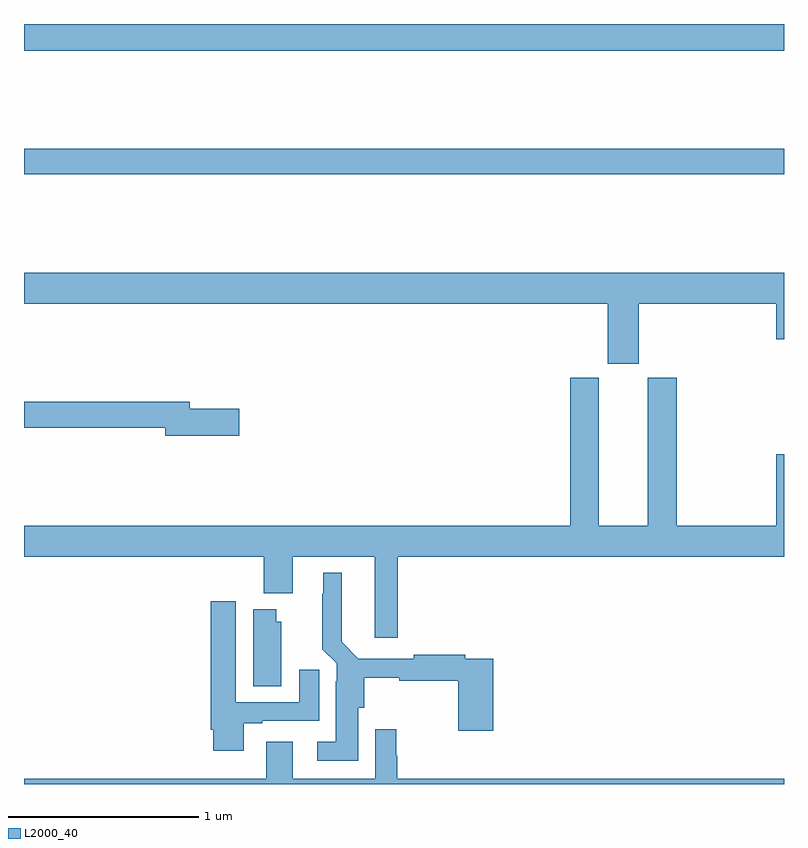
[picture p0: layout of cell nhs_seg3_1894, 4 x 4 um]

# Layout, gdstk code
import gdstk
lib = gdstk.Library(unit=1e-6, precision=1e-09)
def R(c, l, rs):  # rectangles x0, y0, x1, y1
    for r in rs: c.add(gdstk.rectangle(r[:2], r[2:], *l))
def P(c, l, *ps):  # polygons
    for p in ps: c.add(gdstk.Polygon(p, *l))
L2000_40 = (2000, 40)

nhs_seg3_1894 = lib.new_cell('nhs_seg3_1894')
R(nhs_seg3_1894, L2000_40, [(209,689.608,213,689.744), (209,690.26,213,690.4)])
P(nhs_seg3_1894, L2000_40, [(212.236,688.928),(212.96,688.928),(212.96,688.74),(213,688.74),(213,689.092),(209,689.092),(209,688.928),(212.072,688.928),(212.072,688.611),(212.236,688.611)],
  [(210.968,687.596),(213,687.596),(213,688.135),(212.96,688.135),(212.96,687.76),(212.435,687.76),(212.435,688.539),(212.282,688.539),(212.282,687.76),(212.026,687.76),(212.026,688.539),(211.874,688.539),(211.874,687.76),(209,687.76),(209,687.596),(210.263,687.596),(210.263,687.404),(210.415,687.404),(210.415,687.596),(210.845,687.596),(210.845,687.171),(210.968,687.171)],
  [(210.133,688.376),(209.872,688.376),(209.872,688.412),(209,688.412),(209,688.276),(209.744,688.276),(209.744,688.234),(210.133,688.234)],
  [(210.76,686.802),(210.791,686.802),(210.791,686.959),(210.974,686.959),(210.974,686.944),(211.286,686.944),(211.286,686.679),(211.469,686.679),(211.469,687.06),(211.322,687.06),(211.322,687.08),(211.051,687.08),(211.051,687.06),(210.76,687.06),(210.673,687.148),(210.673,687.511),(210.575,687.511),(210.575,687.401),(210.571,687.401),(210.571,687.11),(210.645,687.036),(210.645,686.942),(210.641,686.942),(210.641,686.623),(210.543,686.623),(210.543,686.522),(210.76,686.522)],
  [(210.157,686.721),(210.253,686.721),(210.253,686.733),(210.553,686.733),(210.553,687.001),(210.449,687.001),(210.449,686.829),(210.115,686.829),(210.115,687.361),(209.984,687.361),(209.984,686.686),(209.996,686.686),(209.996,686.574),(210.157,686.574)],
  [(210.355,687.255),(210.328,687.255),(210.328,687.319),(210.206,687.319),(210.206,686.914),(210.355,686.914)],
  [(213,686.428),(210.965,686.428),(210.965,686.55),(210.958,686.55),(210.958,686.689),(210.849,686.689),(210.849,686.428),(210.415,686.428),(210.415,686.623),(210.275,686.623),(210.275,686.428),(209,686.428),(209,686.4),(213,686.4)])

lib.write_gds('nhs_seg3_1894.gds')
